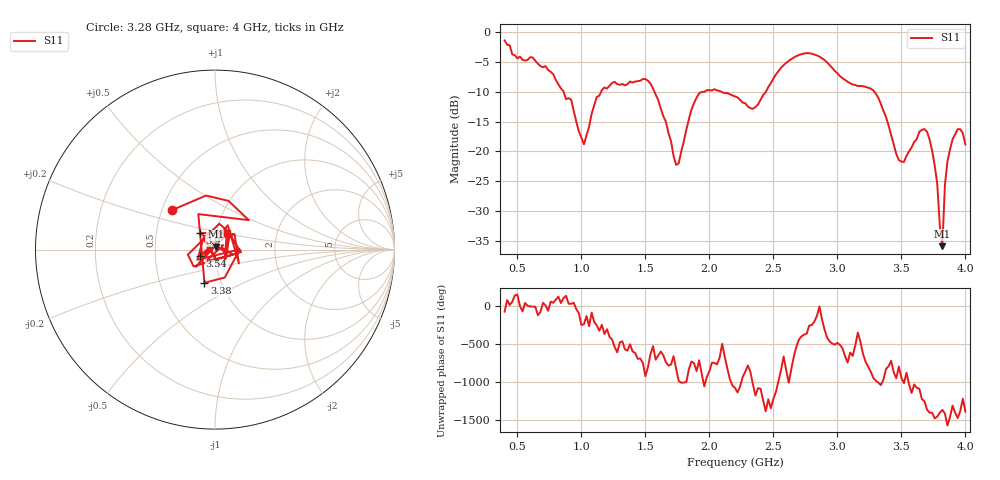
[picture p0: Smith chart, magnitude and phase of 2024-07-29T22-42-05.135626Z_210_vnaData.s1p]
!Created with skrf (http://scikit-rf.org).
# Hz S RI R 50.0
!freq ReS11 ImS11
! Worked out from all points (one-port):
!   181 points, 400 MHz to 4 GHz, reference 50 ohm
!   lowest |S11| = -35.9 dB at 3.82 GHz (marker M1), VSWR 1.03, Z = 50.3 + j1.57 ohm
!   |S11| at or under -10 dB: 1.571 GHz to 1.961 GHz (389.9 MHz wide, 22.1 % of centre); 2.094 GHz to 2.441 GHz (347.3 MHz wide, 15.3 % of centre); 3.289 GHz to end of sweep (the widest 3 of 4)
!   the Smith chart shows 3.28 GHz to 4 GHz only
!   S11 on the Smith chart (normalised r, x): 3.28 GHz: 0.56, +0.28; 3.38 GHz: 0.83, -0.32; 3.54 GHz: 0.84, -0.06; 3.9 GHz: 0.83, +0.16; 4 GHz: 1.12, +0.21
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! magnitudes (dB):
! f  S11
! 400 MHz  -1.4
! 860 MHz  -9.9
! 920 MHz  -11.3
! 1.02 GHz  -18.8
! 1.12 GHz  -10.9
! 1.3 GHz  -8.8
! 1.54 GHz  -8.6
! 1.76 GHz  -22.0
! 1.86 GHz  -13.0
! 1.92 GHz  -10.3
! 2.2 GHz  -10.8
! 2.34 GHz  -12.8
! 2.66 GHz  -4.2
! 2.84 GHz  -3.9
! 3.1 GHz  -8.6
! 3.28 GHz  -9.8
! 3.38 GHz  -14.2
! 3.48 GHz  -21.4
! 3.54 GHz  -20.7
! 3.56 GHz  -20.0
! 3.7 GHz  -16.7
! 3.78 GHz  -25.4
! 3.8 GHz  -32.4
! 3.82 GHz  -35.9
! 3.84 GHz  -25.6
! 3.9 GHz  -18.0
! 3.96 GHz  -16.3
! 4 GHz  -18.8
